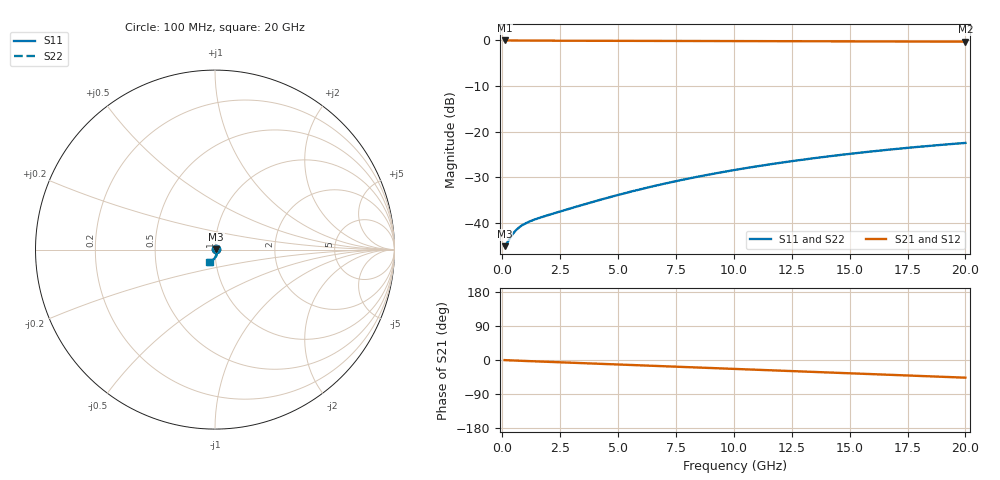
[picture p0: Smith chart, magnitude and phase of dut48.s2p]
! Touchstone file exported from HFSS 2026.1.0
!  File:  C:/ffzhzh/LocalFiles/Ansys_Project_Files/temp_train_BSMRDL_48_1782882504_46784.aedt
!  Generated:  01:09:47 PM Jul  1, 2026
!  Design:  BSMRDL
!  Project:  temp_train_BSMRDL_48_1782882504_46784
! Variables:
!  h_bsmrdl = 2.59um
!  h_ox = 20um
!  h_rdl = 5um
!  h_sub = 80um
!  h_tmrdl = 5um
!  h_tsv = 80um
!  h_via = 3um
!  l_bsmrdl = 826.97um
!  l_sub = 1226.97um
!  l_tmrdl = 200um
!  m_sub = 200um
!  pitch = 23.96um
!  r_tsv = 6um
!  s_tmrdl = 10um
!  w_bsmrdl = 21.52um
!  w_sub = 500um
!  w_tmrdl = 12um
!  x_tsv_center1 = 206um
!  x_tsv_center2 = 1054.49um
!  x_tsv_center3 = 1266.49um
!  x_tsv_center4 = 2114.98um
!  x_tsv_center5 = 2326.98um
!  x_tsv_center6 = 3175.47um
# GHz S MA R 50.000000
! Terminal data exported
! Port[1] = BSM_RDL1_1_T1
! Port[2] = BSM_RDL1_1_T2
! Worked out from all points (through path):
!   200 points, 100 MHz to 20 GHz, reference 50 ohm
!   highest |S21| = -0.05 dB at 100 MHz (marker M1); lowest = -0.3 dB at 20 GHz (marker M2)
!   group delay of S21, straight-line fit = 6.46 ps
!   lowest |S11| = -45.0 dB at 100 MHz (marker M3), VSWR 1.01, Z = 50.6 + j0.0617 ohm
!   |S11| at or under -10 dB: start of sweep to end of sweep
!   |S22| runs from -45.0 to -22.4 dB; largest |S21 - S12| = 2.9e-15
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0.1  0.005595 6.3  0.9944 -0.3  0.9944 -0.3  0.005595 6.3
! Gamma 0 0 0 0
! Port Impedance 50 0 50 0
0.2  0.00605 10.5  0.9941 -0.6  0.9941 -0.6  0.00605 10.5
0.4  0.00728 12.1  0.9929 -1.1  0.9929 -1.1  0.00728 12.0
0.5  0.007871 10.6  0.9923 -1.4  0.9923 -1.4  0.007872 10.6
0.6  0.008399 8.4  0.9917 -1.6  0.9917 -1.6  0.0084 8.4
0.7  0.00886 5.9  0.9912 -1.9  0.9912 -1.9  0.008861 5.9
0.8  0.009262 3.2  0.9908 -2.1  0.9908 -2.1  0.009264 3.2
1  0.009928 -2.1  0.9901 -2.6  0.9901 -2.6  0.009931 -2.1
1.3  0.01072 -9.4  0.9893 -3.3  0.9893 -3.3  0.01073 -9.4
1.7  0.01162 -17.9  0.9887 -4.2  0.9887 -4.2  0.01163 -17.9
3.5  0.01593 -44.0  0.9869 -8.4  0.9869 -8.4  0.01595 -44.0
5.2  0.02095 -58.7  0.9852 -12.4  0.9852 -12.4  0.02099 -58.6
6  0.02356 -63.9  0.9843 -14.3  0.9843 -14.3  0.02362 -63.8
6.8  0.02629 -68.5  0.9834 -16.2  0.9834 -16.2  0.02635 -68.3
8.4  0.03201 -76.1  0.9813 -20.0  0.9813 -20.0  0.0321 -75.9
10.1  0.03836 -83.1  0.979 -23.9  0.979 -23.9  0.03848 -82.8
11.7  0.04449 -88.9  0.9766 -27.6  0.9766 -27.6  0.04463 -88.5
13.4  0.05105 -94.6  0.9741 -31.6  0.9741 -31.6  0.05122 -94.2
15  0.05719 -99.7  0.9717 -35.2  0.9717 -35.2  0.0574 -99.2
16.7  0.06359 -104.8  0.9692 -39.1  0.9692 -39.1  0.06383 -104.4
18.3  0.06942 -109.6  0.9669 -42.8  0.9669 -42.8  0.0697 -109.0
20  0.07534 -114.4  0.9644 -46.6  0.9644 -46.6  0.07565 -113.9
